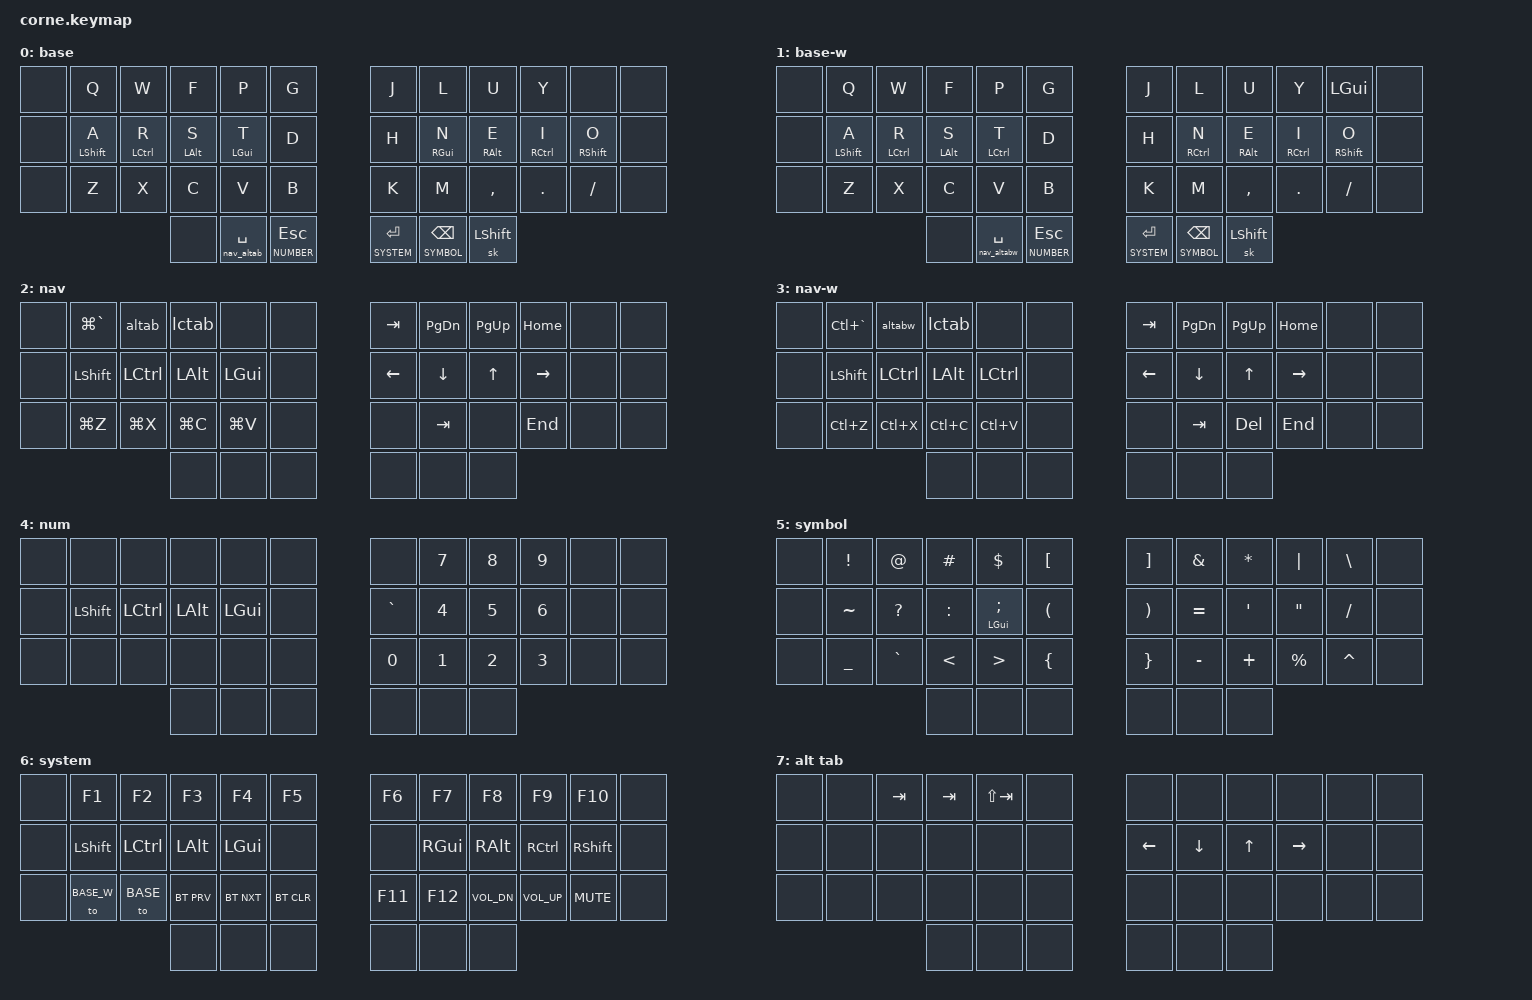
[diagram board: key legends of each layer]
#include <behaviors.dtsi>
#include <dt-bindings/zmk/keys.h>
#include <dt-bindings/zmk/bt.h>

#define BASE 0
#define BASE_W 1
#define NAV 2
#define NAV_W 3
#define NUMBER 4
#define SYMBOL 5
#define SYSTEM 6
#define ALTAB 7

&lt {
    quick-tap-ms = <150>;
};

/ {
    behaviors {
        hm: homerow_mods {
            compatible = "zmk,behavior-hold-tap";
            label = "HOMEROW_MODS";
            #binding-cells = <2>;
            tapping-term-ms = <200>;
            quick_tap_ms = <0>;
            flavor = "tap-preferred";
            bindings = <&kp>, <&kp>;
        };

        ltr: layer_tap_release{
            compatible = "zmk,behavior-hold-tap";
            label = "layer_tap_release";
            #binding-cells = <2>;
            flavor = "tap-preferred";
            tapping-term-ms = <200>;
            bindings = <&nav_altab>, <&kp>;
        };

        
        ltrw: layer_tap_release_win{
            compatible = "zmk,behavior-hold-tap";
            label = "layer_tap_release_win";
            #binding-cells = <2>;
            flavor = "tap-preferred";
            tapping-term-ms = <200>;
            bindings = <&nav_altabw>, <&kp>;
        };
    };

    macros {
        altab: alt_tab {
            label = "alt_tab";
            compatible = "zmk,behavior-macro";
            #binding-cells = <0>;
            wait-ms = <10>;
            tap-ms = <20>;
            bindings =
                <&macro_press &kp LGUI>,
                <&macro_tap &kp TAB &to ALTAB>;
        };

        altabw: alt_tab_win {
            label = "alt_tab_win";
            compatible = "zmk,behavior-macro";
            #binding-cells = <0>;
            wait-ms = <10>;
            tap-ms = <20>;
            bindings =
                <&macro_press &kp LALT>,
                <&macro_tap &kp TAB &to ALTAB>;
        };

        lctab: control_tab {
            label = "control_tab";
            compatible = "zmk,behavior-macro";
            #binding-cells = <0>;
            wait-ms = <10>;
            tap-ms = <20>;
            bindings =
                <&macro_press &kp LCTRL>,
                <&macro_tap &kp TAB &to ALTAB>;
        };

        nav_altab: nav_altab {
            compatible = "zmk,behavior-macro";
            label = "nav_alt_tab";
            #binding-cells = <0>;
            wait-ms = <0>;
            tap-ms = <0>;
            bindings = <&macro_press &mo NAV>
                     , <&macro_pause_for_release>
                     , <&macro_release &kp LGUI>
                     , <&macro_release &kp LCTRL>
                     , <&macro_tap &to BASE>;
        };

        nav_altabw: nav_altabw {
            compatible = "zmk,behavior-macro";
            label = "nav_alt_tab_win";
            #binding-cells = <0>;
            wait-ms = <0>;
            tap-ms = <0>;
            bindings = <&macro_press &mo NAV_W>
                     , <&macro_pause_for_release>
                     , <&macro_release &kp LALT>
                     , <&macro_release &kp LCTRL>
                     , <&macro_tap &to BASE_W>;
        };
    };

    keymap {
        compatible = "zmk,keymap";
        default_layer {
// -----------------------------------------------------------------------------------------
// |  Q  |  W  |  F  |  P  |  G  |   |  J  |  L   |  U  |  Y  |     |
// |  A  |  R  |  S  |  T  |  D  |   |  H  |  N   |  E  |  I  |  O  |
// |  Z  |  X  |  C  |  V  |  B  |   |  K  |  M   |  ,  |  .  |  /  |
//             | GUI | SPC | ESC |   | ENT | BSPC | SHFT|
            display-name = "base";
            bindings = <
   &none  &kp Q        &kp W        &kp F       &kp P       &kp G      &kp J  &kp L       &kp U       &kp Y        &none        &none
   &none  &hm LSHFT A  &hm LCTRL R  &hm LALT S  &hm LGUI T  &kp D      &kp H  &hm RGUI N  &hm RALT E  &hm RCTRL I  &hm RSHFT O  &none
   &none  &kp Z        &kp X        &kp C       &kp V       &kp B      &kp K  &kp M       &kp COMMA   &kp DOT      &kp FSLH     &none
                             &none  &ltr 0 SPACE  &lt NUMBER ESC      &lt SYSTEM RET  &lt SYMBOL BSPC  &sk LSHIFT
            >;
        };

        default_win_layer {
// -----------------------------------------------------------------------------------------
// |  Q  |  W  |  F  |  P  |  G  |   |  J  |  L   |  U  |  Y  |     |
// |  A  |  R  |  S  |  T  |  D  |   |  H  |  N   |  E  |  I  |  O  |
// |  Z  |  X  |  C  |  V  |  B  |   |  K  |  M   |  ,  |  .  |  /  |
//             | GUI | SPC | ESC |   | ENT | BSPC | SHFT|
            display-name = "base-w";
            bindings = <
   &none  &kp Q        &kp W        &kp F       &kp P       &kp G      &kp J  &kp L       &kp U       &kp Y        &kp LGUI     &none
   &none  &hm LSHFT A  &hm LCTRL R  &hm LALT S  &hm LCTRL T &kp D      &kp H  &hm RCTRL N  &hm RALT E  &hm RCTRL I  &hm RSHFT O  &none
   &none  &kp Z        &kp X        &kp C       &kp V       &kp B      &kp K  &kp M       &kp COMMA   &kp DOT      &kp FSLH     &none
                             &none  &ltrw 0 SPACE  &lt NUMBER ESC      &lt SYSTEM RET  &lt SYMBOL BSPC  &sk LSHIFT
            >;
        };

        nav_layer {
            display-name = "nav";
            bindings = <
   &none  &kp LG(GRAVE)  &altab  &lctab     &none       &none      &kp TAB   &kp PG_DN &kp PG_UP  &kp HOME  &none  &none
   &none  &kp LSHFT  &kp LCTRL  &kp LALT    &kp LGUI    &none      &kp LEFT  &kp DOWN  &kp UP     &kp RIGHT &none  &none
   &none  &kp LG(Z)  &kp LG(X)  &kp LG(C)   &kp LG(V)   &none      &none     &kp TAB   &none      &kp END   &none  &none
                                          &none  &none  &none      &none  &none  &none
            >;
        };

        nav_win_layer {
            display-name = "nav-w";
            bindings = <
   &none  &kp LC(GRAVE)  &altabw  &lctab     &none       &none      &kp TAB   &kp PG_DN &kp PG_UP  &kp HOME  &none  &none
   &none  &kp LSHFT  &kp LCTRL  &kp LALT    &kp LCTRL   &none      &kp LEFT  &kp DOWN  &kp UP     &kp RIGHT &none  &none
   &none  &kp LC(Z)  &kp LC(X)  &kp LC(C)   &kp LC(V)   &none      &none     &kp TAB   &kp DEL    &kp END   &none  &none
                                          &none  &none  &none      &none  &none  &none
            >;
        };

        num_layer {
            display-name = "num";
            bindings = <
   &none  &none      &none      &none       &none     &none      &none      &kp N7  &kp N8  &kp N9  &none  &none
   &none  &kp LSHFT  &kp LCTRL  &kp LALT    &kp LGUI  &none      &kp GRAVE  &kp N4  &kp N5  &kp N6  &none  &none
   &none  &none      &none      &none       &none     &none      &kp N0     &kp N1  &kp N2  &kp N3  &none  &none
                                        &none  &none  &none      &none  &none  &none
            >;
        };

        sym_layer {
            display-name = "symbol";
            bindings = <
   &none  &kp EXCL  &kp AT     &kp HASH   &kp DLLR  &kp LBKT      &kp RBKT  &kp AMPS   &kp ASTRK  &kp PIPE  &kp BSLH  &none
   &none  &kp TILDE &kp QMARK  &kp COLON  &hm LGUI SEMI  &kp LPAR      &kp RPAR  &kp EQUAL  &kp SQT    &kp DQT    &kp FSLH  &none
   &none  &kp UNDER &kp GRAVE  &kp LT     &kp GT    &kp LBRC      &kp RBRC  &kp MINUS  &kp PLUS   &kp PRCNT  &kp CARET  &none
                                         &none  &none  &none      &none  &none  &none
            >;
        };

        sys_layer {
            display-name = "system";
            bindings = <
   &none  &kp F1     &kp F2     &kp F3    &kp F4    &kp F5          &kp F6  &kp F7  &kp F8  &kp F9  &kp F10  &none
   &none  &kp LSHFT  &kp LCTRL  &kp LALT  &kp LGUI  &none           &none    &kp RGUI  &kp RALT  &kp RCTRL     &kp RSHFT  &none
   &none  &to BASE_W &to BASE  &bt BT_PRV  &bt BT_NXT  &bt BT_CLR      &kp F11  &kp F12  &kp C_VOL_DN &kp C_VOL_UP  &kp C_MUTE  &none
                                      &none  &none  &none           &none  &none  &none
            >;
        };

        altab_layer {
            display-name = "alt tab";
            bindings = <
    &none  &none  &kp TAB  &kp TAB  &kp LS(TAB)  &none      &none  &none  &none  &none  &none  &none
    &none  &none  &none  &none  &none  &none        &kp LEFT  &kp DOWN  &kp UP  &kp RIGHT  &none  &none
    &none  &none  &none  &none  &none  &none        &none  &none  &none  &none  &none  &none
                         &none  &none  &none        &none  &none  &none

            >;

        };
    };
};
